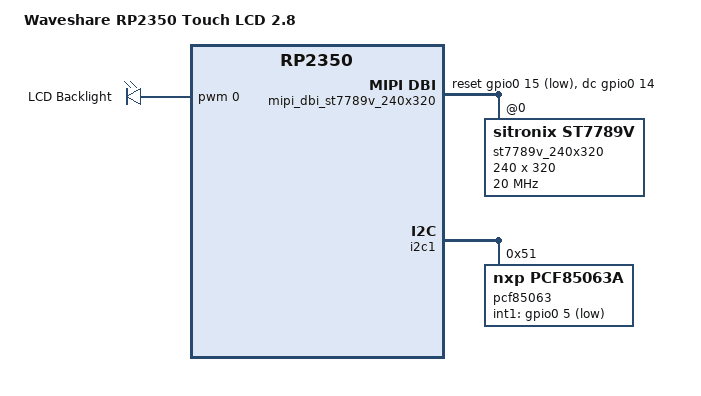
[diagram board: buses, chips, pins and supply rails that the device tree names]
/*
 * Copyright (c) 2025 Your Name
 *
 * SPDX-License-Identifier: Apache-2.0
 */

/dts-v1/;

/* The build system assumes that there's a cpucluster-specific file.
 *
 * This file provides composition of the device tree:
 * 1. The common features of the SoC
 * 2. Core-specific configuration.
 * 3. Board-specific configuration.
 */
#include <raspberrypi/rpi_pico/rp2350a.dtsi>
#include <raspberrypi/rpi_pico/m33.dtsi>
#include "rp2350_touch_lcd_2_8.dtsi"
#include <zephyr/dt-bindings/mipi_dbi/mipi_dbi.h>

/ {
	model = "Waveshare RP2350 Touch LCD 2.8";
	compatible = "waveshare,rp2350-touch-lcd-2.8";

	aliases {
		rtc = &pcf85063;
	};

	chosen {
		zephyr,display = &st7789v_240x320;
		/* zephyr,touch = &cst328; */  /* CST328 not yet supported in Zephyr */
	};

	/* MIPI DBI for ST7789V LCD Display */
	mipi_dbi_st7789v_240x320 {
		compatible = "zephyr,mipi-dbi-spi";
		spi-dev = <&spi1>;
		dc-gpios = <&gpio0 14 GPIO_ACTIVE_HIGH>;	/* LCD DC */
		reset-gpios = <&gpio0 15 GPIO_ACTIVE_LOW>;	/* LCD Reset */
		write-only;
		#address-cells = <1>;
		#size-cells = <0>;

		st7789v_240x320: st7789v@0 {
			compatible = "sitronix,st7789v";
			mipi-max-frequency = <20000000>;
			reg = <0>;
			width = <240>;
			height = <320>;
			x-offset = <0>;
			y-offset = <0>;
			vcom = <0x19>;
			gctrl = <0x35>;
			vrhs = <0x12>;
			vdvs = <0x20>;
			mdac = <0x00>;
			gamma = <0x01>;
			colmod = <0x05>;
			lcm = <0x2c>;
			porch-param = [0c 0c 00 33 33];
			cmd2en-param = [5a 69 02 01];
			pwctrl1-param = [a4 a1];
			pvgam-param = [D0 04 0D 11 13 2B 3F 54 4C 18 0D 0B 1F 23];
			nvgam-param = [D0 04 0C 11 13 2C 3F 44 51 2F 1F 1F 20 23];
			ram-param = [00 F0];
			rgb-param = [CD 08 14];
			mipi-mode = "MIPI_DBI_MODE_SPI_4WIRE";
		};
	};

	/* PWM LED for LCD Backlight */
	pwmleds {
		compatible = "pwm-leds";

		pwm_lcd_bl: pwm_lcd_backlight {
			pwms = <&pwm 0 PWM_MSEC(20) PWM_POLARITY_NORMAL>;
			label = "LCD Backlight";
		};
	};

	/* LVGL pointer input for touch - disabled until CST328 driver available */
	/* lvgl_pointer {
		compatible = "zephyr,lvgl-pointer-input";
		input = <&cst328>;
	}; */
};

/* I2C1 devices: Touch controller (CST328) and IMU (QMI8658) */
&i2c1 {
	/* Hynitron CST328 Capacitive Touch Controller
	 * Note: CST328 driver not yet available in Zephyr. Add when supported.
	 * GPIO17 = Touch Reset, GPIO18 = Touch Interrupt
	 */
	/* cst328: cst328@xx {
		compatible = "hynitron,cst328";
		reg = <0xXX>;
		irq-gpios = <&gpio0 18 (GPIO_PULL_UP | GPIO_ACTIVE_LOW)>;
		rst-gpios = <&gpio0 17 GPIO_ACTIVE_LOW>;
	}; */

	/* QMI8658 IMU
	 * Note: QMI8658 driver not available in Zephyr.
	 * GPIO8 = IMU INT1, GPIO9 = IMU INT2
	 */
	/* qmi8658: qmi8658@xx {
		compatible = "qst,qmi8658";
		reg = <0xXX>;
		int1-gpios = <&gpio0 8 GPIO_ACTIVE_HIGH>;
		int2-gpios = <&gpio0 9 GPIO_ACTIVE_HIGH>;
	}; */

	/* PCF85063A RTC
	 * GPIO5 = RTC interrupt
	 */
	pcf85063: pcf85063a@51 {
		compatible = "nxp,pcf85063a";
		reg = <0x51>;
		int1-gpios = <&gpio0 5 GPIO_ACTIVE_LOW>;
	};
};

/* I2S Audio Interface - GPIO2/3/4
 * GPIO2 = I2S BCK, GPIO3 = I2S LRCLK, GPIO4 = I2S DIN
 * Note: I2S support in RP2350 typically requires PIO blocks.
 * This may need custom PIO programs or future Zephyr I2S-PIO driver.
 */

/* SD Card - GPIO19-24
 * GPIO19 = SCK, GPIO20 = CMD, GPIO21 = D0, GPIO22 = D1, GPIO23 = D2, GPIO24 = D3
 * Note: This appears to use SDIO mode with D0-D3 data lines.
 * RP2350 SDIO support needs to be verified.
 * Alternative: Configure as SPI mode using SDHC driver.
 */
